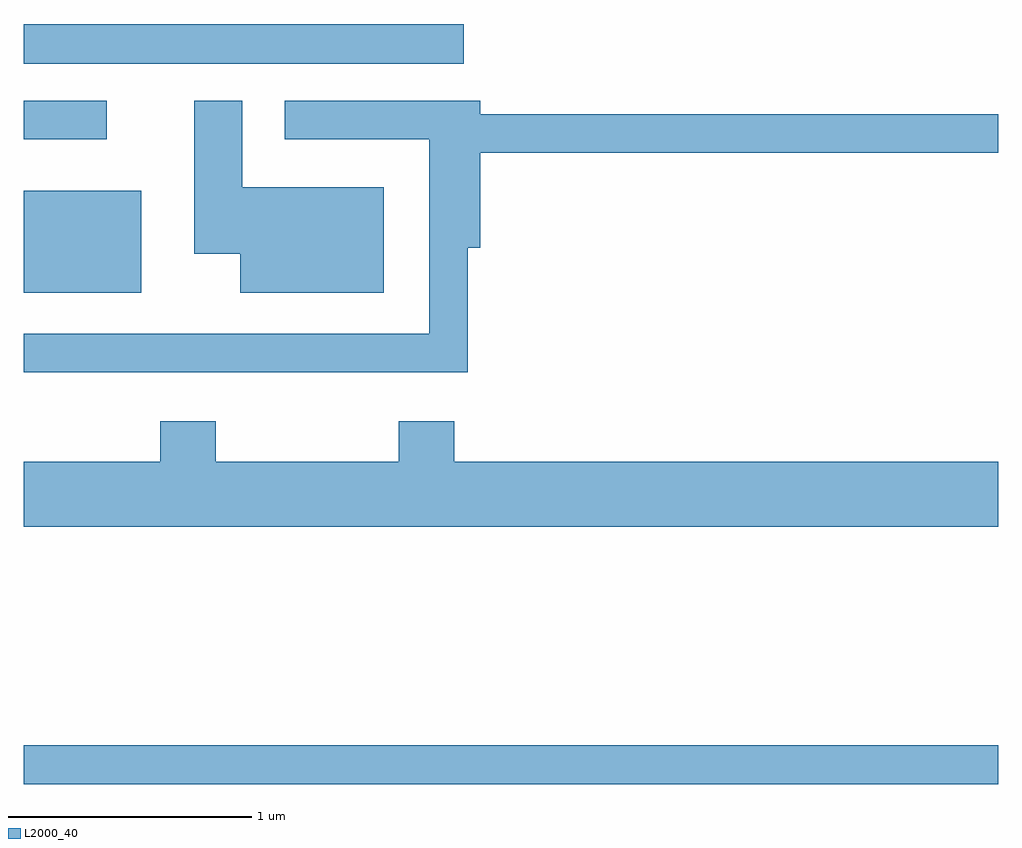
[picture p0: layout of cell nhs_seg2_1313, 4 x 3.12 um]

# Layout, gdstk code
import gdstk
lib = gdstk.Library(unit=1e-6, precision=1e-09)
def R(c, l, rs):  # rectangles x0, y0, x1, y1
    for r in rs: c.add(gdstk.rectangle(r[:2], r[2:], *l))
def P(c, l, *ps):  # polygons
    for p in ps: c.add(gdstk.Polygon(p, *l))
L2000_40 = (2000, 40)

nhs_seg2_1313 = lib.new_cell('nhs_seg2_1313')
R(nhs_seg2_1313, L2000_40, [(223.611,1020.621,227.611,1020.779), (223.611,1022.636,224.094,1023.054), (223.611,1023.266,223.953,1023.424), (223.611,1023.576,225.418,1023.739)])
P(nhs_seg2_1313, L2000_40, [(225.089,1023.069),(224.509,1023.069),(224.509,1023.424),(224.311,1023.424),(224.311,1022.796),(224.501,1022.796),(224.501,1022.636),(225.089,1022.636)],
  [(225.434,1022.821),(225.484,1022.821),(225.484,1023.211),(227.611,1023.211),(227.611,1023.369),(225.484,1023.369),(225.484,1023.424),(224.683,1023.424),(224.683,1023.266),(225.276,1023.266),(225.276,1022.469),(223.611,1022.469),(223.611,1022.311),(225.434,1022.311)],
  [(227.611,1021.944),(225.379,1021.944),(225.379,1022.109),(225.151,1022.109),(225.151,1021.944),(224.399,1021.944),(224.399,1022.109),(224.171,1022.109),(224.171,1021.944),(223.611,1021.944),(223.611,1021.676),(227.611,1021.676)])

lib.write_gds('nhs_seg2_1313.gds')
